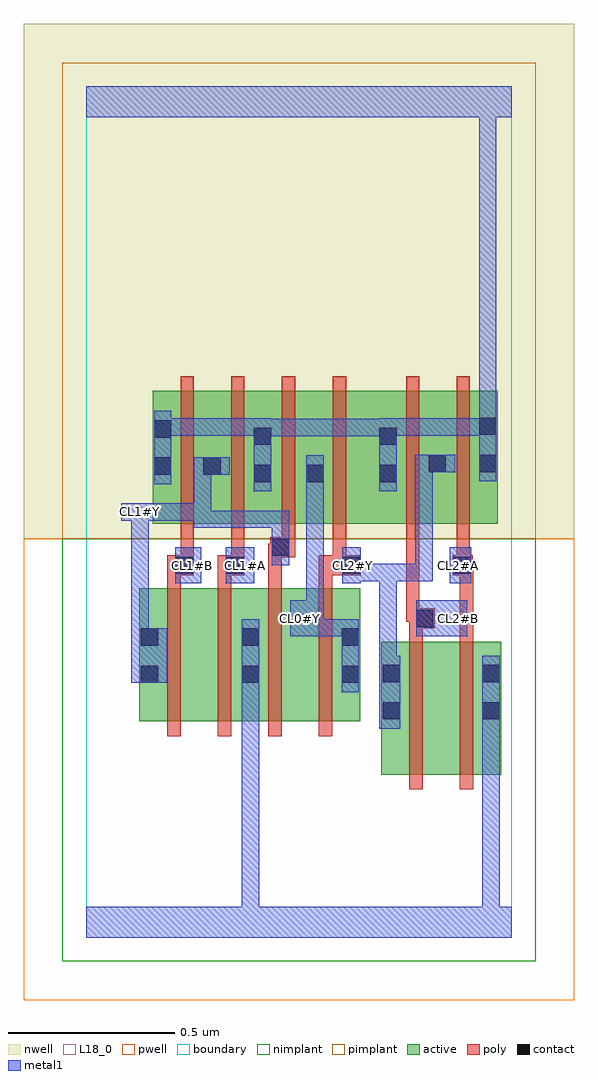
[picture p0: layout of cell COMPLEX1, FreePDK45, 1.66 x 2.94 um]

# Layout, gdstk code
import gdstk
lib = gdstk.Library(unit=1e-6, precision=1e-09)
def R(c, l, rs):  # rectangles x0, y0, x1, y1
    for r in rs: c.add(gdstk.rectangle(r[:2], r[2:], *l))
def A(c, l, x, y, w, h, nx, ny, dx, dy):  # array of equal rectangles
    R(c, l, [(x+i*dx, y+j*dy, x+i*dx+w, y+j*dy+h) for i in range(nx) for j in range(ny)])
active = (1, 0)
pwell = (2, 0)
nwell = (3, 0)
nimplant = (4, 0)
pimplant = (5, 0)
poly = (9, 0)
contact = (10, 0)
metal1 = (11, 0)
L18_0 = (18, 0)
boundary = (235, 0)

complex1 = lib.new_cell('COMPLEX1')
R(complex1, active, [(0.888,0.49,1.068,0.89), (1.068,0.49,1.248,0.89), (1.188,0.49,1.248,0.89), (0.16,0.65,0.34,1.05), (0.34,0.65,0.524,1.05), (0.464,0.65,0.644,1.05), (0.644,0.65,0.824,1.05), (0.888,0.652,0.948,0.89), (0.16,0.756,0.22,1.05), (0.464,0.756,0.524,0.934), (0.764,0.756,0.824,1.05), (0.2,1.244,0.26,1.644), (0.2,1.244,0.408,1.644), (0.348,1.244,0.408,1.644), (0.348,1.244,0.56,1.644), (0.5,1.244,0.718,1.644), (0.658,1.244,0.938,1.644), (0.878,1.244,0.938,1.644), (0.878,1.244,1.086,1.644), (1.026,1.244,1.238,1.644), (1.178,1.244,1.238,1.644), (0.5,1.31,0.56,1.644), (0.658,1.366,0.718,1.644), (1.026,1.396,1.086,1.644)])
R(complex1, pwell, [(-0.188,-0.188,1.468,1.2)])
R(complex1, nwell, [(-0.188,1.2,1.468,2.748)])
R(complex1, nimplant, [(-0.072,-0.072,1.352,1.2)])
R(complex1, pimplant, [(-0.072,1.2,1.352,2.632)])
A(complex1, poly, 0.244, 0.606, 0.04, 0.488, 4, 1, 0.152, 0)
A(complex1, poly, 0.284, 1.2, 0.04, 0.488, 3, 1, 0.152, 0)
R(complex1, poly, [(0.972,0.446,1.012,0.934), (1.124,0.446,1.164,0.934), (0.972,0.894,1.012,0.97), (1.124,0.894,1.164,1.13), (0.972,0.93,1.048,0.99), (0.962,0.95,1.002,1.24), (0.962,0.95,1.012,0.99), (0.972,0.95,1.012,0.99), (0.244,1.054,0.284,1.13), (0.396,1.054,0.436,1.13), (0.548,1.054,0.588,1.184), (0.7,1.054,0.74,1.13), (0.244,1.09,0.324,1.15), (0.396,1.09,0.476,1.15), (0.7,1.09,0.826,1.15), (1.102,1.09,1.162,1.15), (1.122,1.09,1.162,1.13), (1.122,1.09,1.164,1.13), (0.284,1.11,0.324,1.24), (0.284,1.11,0.324,1.15), (0.284,1.11,0.324,1.15), (0.436,1.11,0.476,1.24), (0.436,1.11,0.476,1.15), (0.436,1.11,0.476,1.15), (0.742,1.11,0.782,1.24), (0.742,1.11,0.782,1.15), (0.742,1.11,0.782,1.15), (1.114,1.11,1.154,1.24), (0.548,1.144,0.594,1.184), (0.554,1.144,0.594,1.184), (0.554,1.144,0.628,1.204), (0.588,1.164,0.628,1.24), (0.742,1.2,0.782,1.688), (0.962,1.2,1.002,1.688), (1.114,1.2,1.154,1.688)])
R(complex1, contact, [(0.892,0.656,0.944,0.708), (1.192,0.656,1.244,0.708), (0.164,0.766,0.216,0.818), (0.468,0.766,0.52,0.818), (0.768,0.766,0.82,0.818), (0.892,0.768,0.944,0.82), (1.192,0.768,1.244,0.82), (0.164,0.878,0.216,0.93), (0.468,0.878,0.52,0.93), (0.768,0.878,0.82,0.93), (0.992,0.934,1.044,0.986), (0.268,1.094,0.32,1.146), (0.42,1.094,0.472,1.146), (0.77,1.094,0.822,1.146), (1.106,1.094,1.158,1.146), (0.558,1.148,0.61,1.2), (0.504,1.37,0.556,1.422), (0.662,1.37,0.714,1.422), (0.882,1.37,0.934,1.422), (0.204,1.392,0.256,1.444), (0.352,1.392,0.404,1.444), (1.03,1.4,1.082,1.452), (1.182,1.4,1.234,1.452), (0.504,1.482,0.556,1.534), (0.882,1.482,0.934,1.534), (0.204,1.504,0.256,1.556), (1.182,1.512,1.234,1.564)])
R(complex1, metal1, [(0,0,1.28,0.092), (0.468,0.04,0.52,0.79), (1.192,0.04,1.244,0.092), (1.192,0.04,1.244,0.092), (1.192,0.04,1.244,0.092), (1.192,0.04,1.244,0.092), (1.192,0.04,1.244,0.092), (1.192,0.04,1.244,0.092), (1.192,0.04,1.244,0.092), (1.192,0.04,1.244,0.092), (1.192,0.04,1.244,0.092), (1.192,0.04,1.244,0.092), (1.192,0.04,1.244,0.092), (1.192,0.04,1.244,0.092), (1.192,0.04,1.244,0.68), (0.882,0.628,0.944,0.848), (1.192,0.628,1.244,0.848), (0.468,0.738,0.52,0.79), (0.468,0.738,0.52,0.79), (0.468,0.738,0.52,0.79), (0.468,0.738,0.52,0.79), (0.468,0.738,0.52,0.79), (0.468,0.738,0.52,0.79), (0.468,0.738,0.52,0.79), (0.468,0.738,0.52,0.79), (0.468,0.738,0.52,0.79), (0.468,0.738,0.52,0.79), (0.468,0.738,0.52,0.79), (0.468,0.738,0.52,0.79), (0.468,0.738,0.52,0.958), (0.768,0.738,0.82,0.958), (0.136,0.766,0.244,0.93), (0.882,0.796,0.934,1.124), (0.136,0.878,0.188,0.93), (0.136,0.878,0.188,0.93), (0.136,0.878,0.188,1.306), (0.614,0.906,0.714,1.014), (0.658,0.906,0.71,0.958), (0.658,0.906,0.71,0.958), (0.658,0.906,0.82,0.958), (0.768,0.906,0.82,0.958), (0.768,0.906,0.82,0.958), (0.992,0.906,1.146,1.014), (0.662,0.962,0.714,1.014), (0.662,0.962,0.714,1.014), (0.662,0.962,0.714,1.394), (0.268,1.066,0.346,1.174), (0.42,1.066,0.506,1.174), (0.77,1.066,0.826,1.174), (1.094,1.066,1.158,1.174), (0.774,1.072,0.826,1.124), (0.774,1.072,0.826,1.124), (0.774,1.072,0.934,1.124), (0.882,1.072,0.934,1.124), (0.882,1.072,0.934,1.124), (0.882,1.072,0.934,1.124), (0.882,1.072,1.036,1.124), (0.984,1.072,1.036,1.124), (0.984,1.072,1.042,1.124), (0.99,1.072,1.042,1.124), (0.99,1.072,1.042,1.452), (0.558,1.12,0.61,1.284), (0.324,1.232,0.556,1.284), (0.324,1.232,0.376,1.306), (0.504,1.232,0.556,1.284), (0.504,1.232,0.61,1.284), (0.106,1.254,0.214,1.306), (0.162,1.254,0.214,1.306), (0.162,1.254,0.214,1.306), (0.162,1.254,0.376,1.306), (0.324,1.254,0.376,1.306), (0.324,1.254,0.376,1.306), (0.324,1.254,0.376,1.444), (0.504,1.342,0.556,1.562), (0.662,1.342,0.714,1.45), (0.882,1.342,0.934,1.562), (0.204,1.364,0.256,1.584), (1.182,1.372,1.234,1.592), (0.324,1.392,0.432,1.444), (0.99,1.4,1.11,1.452), (0.504,1.508,0.556,1.56), (0.504,1.508,0.556,1.56), (0.504,1.508,0.71,1.56), (0.658,1.508,0.71,1.56), (0.658,1.508,0.824,1.56), (0.772,1.508,0.824,1.56), (0.772,1.508,0.824,1.56), (0.772,1.508,0.824,1.56), (0.772,1.508,0.934,1.56), (0.204,1.51,0.256,1.562), (0.204,1.51,0.256,1.562), (0.204,1.51,0.366,1.562), (0.314,1.51,0.366,1.562), (0.314,1.51,0.366,1.562), (0.314,1.51,0.366,1.562), (0.314,1.51,0.556,1.562), (0.882,1.51,1.036,1.562), (0.984,1.51,1.036,1.562), (0.984,1.51,1.044,1.562), (0.992,1.51,1.044,1.562), (0.992,1.51,1.234,1.562), (1.182,1.51,1.234,1.562), (1.182,1.51,1.234,1.562), (1.182,1.54,1.234,1.592), (1.182,1.54,1.234,1.592), (1.182,1.54,1.234,1.592), (1.182,1.54,1.234,1.592), (1.182,1.54,1.234,1.592), (1.182,1.54,1.234,1.592), (1.182,1.54,1.234,2.52), (0,2.468,1.28,2.56), (1.182,2.468,1.234,2.52), (1.182,2.468,1.234,2.52), (1.182,2.468,1.234,2.52), (1.182,2.468,1.234,2.52), (1.182,2.468,1.234,2.52), (1.182,2.468,1.234,2.52), (1.182,2.468,1.234,2.52), (1.182,2.468,1.234,2.52), (1.182,2.468,1.234,2.52), (1.182,2.468,1.234,2.52)])
A(complex1, L18_0, 0.454, 1.094, 0.052, 0.052, 3, 1, 0.32, 0)
R(complex1, L18_0, [(0,0,1.28,0.092), (0.468,0.04,0.52,0.79), (1.192,0.04,1.244,0.092), (1.192,0.04,1.244,0.092), (1.192,0.04,1.244,0.092), (1.192,0.04,1.244,0.092), (1.192,0.04,1.244,0.092), (1.192,0.04,1.244,0.092), (1.192,0.04,1.244,0.092), (1.192,0.04,1.244,0.092), (1.192,0.04,1.244,0.092), (1.192,0.04,1.244,0.092), (1.192,0.04,1.244,0.092), (1.192,0.04,1.244,0.092), (1.192,0.04,1.244,0.68), (0.882,0.628,0.944,0.848), (1.192,0.628,1.244,0.848), (0.468,0.738,0.52,0.79), (0.468,0.738,0.52,0.79), (0.468,0.738,0.52,0.79), (0.468,0.738,0.52,0.79), (0.468,0.738,0.52,0.79), (0.468,0.738,0.52,0.79), (0.468,0.738,0.52,0.79), (0.468,0.738,0.52,0.79), (0.468,0.738,0.52,0.79), (0.468,0.738,0.52,0.79), (0.468,0.738,0.52,0.79), (0.468,0.738,0.52,0.79), (0.468,0.738,0.52,0.958), (0.768,0.738,0.82,0.958), (0.136,0.766,0.244,0.93), (0.882,0.796,0.934,1.124), (0.136,0.878,0.188,0.93), (0.136,0.878,0.188,0.93), (0.136,0.878,0.188,1.306), (0.614,0.906,0.714,1.014), (0.658,0.906,0.71,0.958), (0.658,0.906,0.71,0.958), (0.658,0.906,0.82,0.958), (0.768,0.906,0.82,0.958), (0.768,0.906,0.82,0.958), (0.992,0.906,1.146,1.014), (0.614,0.934,0.666,0.986), (1.094,0.934,1.146,0.986), (0.662,0.962,0.714,1.014), (0.662,0.962,0.714,1.014), (0.662,0.962,0.714,1.394), (0.268,1.066,0.346,1.174), (0.42,1.066,0.506,1.174), (0.77,1.066,0.826,1.174), (1.094,1.066,1.158,1.174), (0.774,1.072,0.826,1.124), (0.774,1.072,0.826,1.124), (0.774,1.072,0.934,1.124), (0.882,1.072,0.934,1.124), (0.882,1.072,0.934,1.124), (0.882,1.072,0.934,1.124), (0.882,1.072,1.036,1.124), (0.984,1.072,1.036,1.124), (0.984,1.072,1.042,1.124), (0.99,1.072,1.042,1.124), (0.99,1.072,1.042,1.452), (0.294,1.094,0.346,1.146), (0.558,1.12,0.61,1.284), (0.324,1.232,0.376,1.306), (0.324,1.232,0.556,1.284), (0.504,1.232,0.556,1.284), (0.504,1.232,0.61,1.284), (0.106,1.254,0.214,1.306), (0.134,1.254,0.186,1.306), (0.162,1.254,0.214,1.306), (0.162,1.254,0.214,1.306), (0.162,1.254,0.376,1.306), (0.324,1.254,0.376,1.306), (0.324,1.254,0.376,1.306), (0.324,1.254,0.376,1.444), (0.504,1.342,0.556,1.562), (0.662,1.342,0.714,1.45), (0.882,1.342,0.934,1.562), (0.204,1.364,0.256,1.584), (1.182,1.372,1.234,1.592), (0.324,1.392,0.432,1.444), (0.99,1.4,1.11,1.452), (0.504,1.508,0.556,1.56), (0.504,1.508,0.556,1.56), (0.504,1.508,0.71,1.56), (0.658,1.508,0.71,1.56), (0.658,1.508,0.824,1.56), (0.772,1.508,0.824,1.56), (0.772,1.508,0.824,1.56), (0.772,1.508,0.824,1.56), (0.772,1.508,0.934,1.56), (0.204,1.51,0.256,1.562), (0.204,1.51,0.256,1.562), (0.204,1.51,0.366,1.562), (0.314,1.51,0.366,1.562), (0.314,1.51,0.366,1.562), (0.314,1.51,0.366,1.562), (0.314,1.51,0.556,1.562), (0.882,1.51,1.036,1.562), (0.984,1.51,1.036,1.562), (0.984,1.51,1.044,1.562), (0.992,1.51,1.044,1.562), (0.992,1.51,1.234,1.562), (1.182,1.51,1.234,1.562), (1.182,1.51,1.234,1.562), (1.182,1.54,1.234,1.592), (1.182,1.54,1.234,1.592), (1.182,1.54,1.234,1.592), (1.182,1.54,1.234,1.592), (1.182,1.54,1.234,1.592), (1.182,1.54,1.234,1.592), (1.182,1.54,1.234,2.52), (0,2.468,1.28,2.56), (1.182,2.468,1.234,2.52), (1.182,2.468,1.234,2.52), (1.182,2.468,1.234,2.52), (1.182,2.468,1.234,2.52), (1.182,2.468,1.234,2.52), (1.182,2.468,1.234,2.52), (1.182,2.468,1.234,2.52), (1.182,2.468,1.234,2.52), (1.182,2.468,1.234,2.52), (1.182,2.468,1.234,2.52)])
R(complex1, boundary, [(0,0,1.28,2.56)])
complex1.add(gdstk.Label('CL0#Y', (0.64,0.96), layer=11, texttype=0))
complex1.add(gdstk.Label('CL1#A', (0.48,1.12), layer=11, texttype=0))
complex1.add(gdstk.Label('CL1#B', (0.32,1.12), layer=11, texttype=0))
complex1.add(gdstk.Label('CL1#Y', (0.16,1.28), layer=11, texttype=0))
complex1.add(gdstk.Label('CL2#A', (1.12,1.12), layer=11, texttype=0))
complex1.add(gdstk.Label('CL2#B', (1.12,0.96), layer=11, texttype=0))
complex1.add(gdstk.Label('CL2#Y', (0.8,1.12), layer=11, texttype=0))

lib.write_gds('COMPLEX1.gds')
